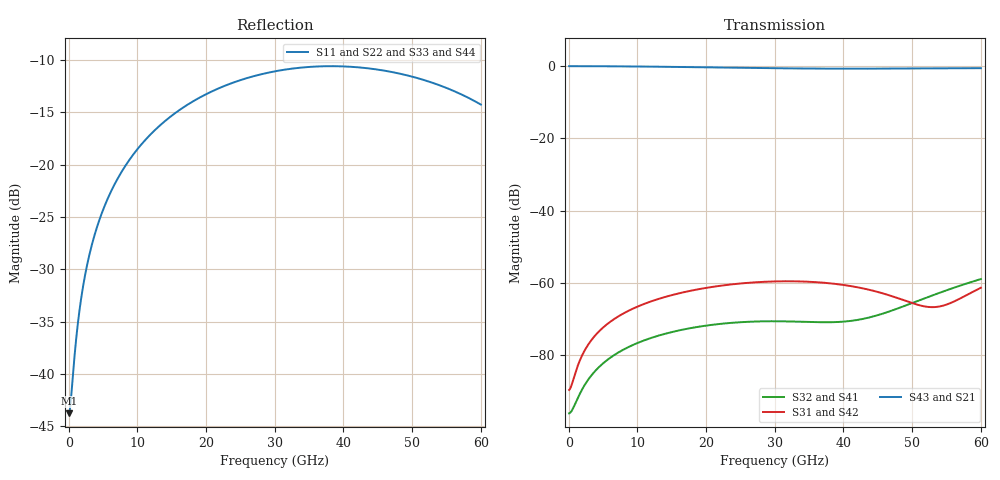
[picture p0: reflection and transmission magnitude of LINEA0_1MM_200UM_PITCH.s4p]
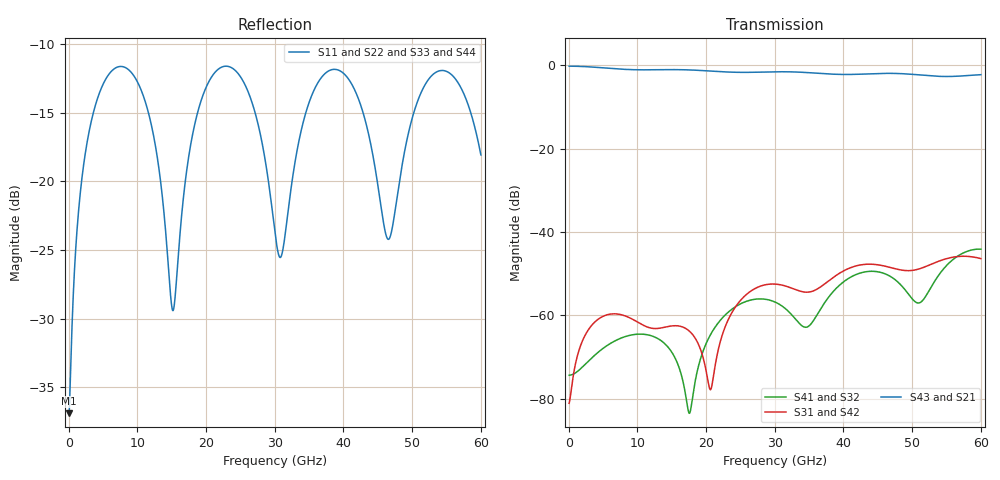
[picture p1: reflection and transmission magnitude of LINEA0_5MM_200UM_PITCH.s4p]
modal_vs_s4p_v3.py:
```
"""Hybrid crosstalk model vs coworker's 3-D CST .s4p (200 um pitch).
 - average line (speed, loss, impedance): 3-D single-line fit, cascade/three_lengths_results.npz
   (includes gold loss / internal inductance, which the hexahedral port solver ignores: it treats metal as PEC)
 - even/odd SPLIT: 2-D port modes 5/6 -> dn(f) from beta (portmode_betas.txt),
   Ze/Zo - 1 = +0.30...+0.45 % from field integration (port_voltages_sweep.py)."""
import numpy as np, matplotlib; matplotlib.use("Agg"); import matplotlib.pyplot as plt
from first_look_lib import load4
c = 299792458
R = np.load("../cascade/three_lengths_results.npz"); fR, gR, ZR = R["f"], R["g"], R["Zfit"]
B = np.loadtxt("portmode_betas.txt"); fb = B[:, 0]*1e9; dbeta_over_f = (B[:, 1]-B[:, 2])/fb
def line2(gam, Z, L, z0=50.0):
    t = np.exp(-gam*L); r = (Z-z0)/(Z+z0); d = 1 - r**2*t**2
    return r*(1-t**2)/d, (1-r**2)*t/d
def xtalk(f, L, dz):
    g = np.interp(f, fR, gR.real) + 1j*np.interp(f, fR, gR.imag)
    Z = np.interp(f, fR, ZR.real) + 1j*np.interp(f, fR, ZR.imag)
    db_ = np.interp(f, fb, dbeta_over_f)*f            # beta_even - beta_odd
    s11e, s21e = line2(g + 0.5j*db_, Z*(1+dz/2), L); s11o, s21o = line2(g - 0.5j*db_, Z*(1-dz/2), L)
    return 0.5*(s11e-s11o), 0.5*(s21e-s21o)
db = lambda x: 20*np.log10(np.abs(x)+1e-30)
fig, axs = plt.subplots(2, 2, figsize=(12, 8), sharex=True); rows = []
for j, (fn, L) in enumerate([("LINEA0_1MM_200UM_PITCH.s4p", 1e-3), ("LINEA0_5MM_200UM_PITCH.s4p", 5e-3)]):
    f, S = load4(fn); f, S = f[1:], S[1:]
    lo, hi = xtalk(f, L, 0.0030), xtalk(f, L, 0.0045)
    for i, (k, name) in enumerate([(2, "NEXT  |S31|"), (3, "FEXT  |S41|")]):
        a = axs[i, j]; cst = db(S[:, k, 0]); m1, m2 = db(lo[i]), db(hi[i])
        a.fill_between(f/1e9, np.minimum(m1, m2), np.maximum(m1, m2), color="C3", alpha=.35,
                       label="cross-section model (3-D line + 2-D even/odd split)")
        a.plot(f/1e9, cst, "k", lw=2, label="coworker's 3-D CST (.s4p)")
        a.set_title(f"{name},  L = {L*1e3:.0f} mm,  pitch 200 µm"); a.set_ylim(-110, -30); a.grid(alpha=.3)
        for gq in (6, 18, 30, 42, 60):
            q = np.argmin(abs(f-gq*1e9)); rows.append((L*1e3, name[:4], gq, cst[q], m1[q], m2[q]))
axs[0, 0].legend(fontsize=8, loc="lower right"); [a.set_xlabel("frequency (GHz)") for a in axs[1]]
[a.set_ylabel("dB") for a in axs[:, 0]]
fig.tight_layout(); fig.savefig("modal_vs_s4p_v3.png", dpi=110)
for r in rows: print("%.0fmm %s %2d GHz  CST %6.1f  model %6.1f .. %6.1f" % r)
```
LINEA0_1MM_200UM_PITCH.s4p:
! TOUCHSTONE file generated by CST MICROWAVE STUDIO
! Date and time: Wed Oct 14 10:40:22 2026
! Project name: LINEA0_1MM_200UM_PITCH.cst
! Parameters = {CHANNEL_PITCH=0.2; GAP=0.00415; L=1; L1=0.02; L2=0.086; L3=0.066; NCELL=1; PITCH=0.18; START_POSITION=0.08; W1=0.003; W2=0.004; W3=0.009; WG=0.04985; gap_oxr=0.00125; linbo3_thickness=0.0002; mtx=0.002; oxiDinE=0.0014; w=0.15; ws=0.035}
! Header version: 2024
! Port assignment regex: !\s*Touchstone port\s*([0-9]+)\s*=\s*(CST MWS port|CST DES external port|CST DES block port)\s*(.+)\s* \(\"(.*)\"\)(\s*mode\s*([0-9]+))?.*
! Touchstone port assignment:
! Touchstone port 1 = CST MWS port 1 ("")
! Touchstone port 2 = CST MWS port 2 ("")
! Touchstone port 3 = CST MWS port 3 ("")
! Touchstone port 4 = CST MWS port 4 ("")
# GHz S MA R 50
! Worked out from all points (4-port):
!   1000 points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, 60 MHz to 60 GHz, reference 50 ohm
!   strongest paths, dB at 60 MHz, 15.06 GHz, 30.06 GHz, 45.06 GHz, 60 GHz:
!     S43: -0.1, -0.3, -0.6, -0.7, -0.6
!     S21: -0.1, -0.3, -0.6, -0.7, -0.6
!     S31: -89.6, -63.4, -59.6, -62.6, -61.4
!     S42: -89.6, -63.4, -59.6, -62.6, -61.4
!     S32: -96.1, -73.6, -70.6, -68.9, -59.0
!     S41: -96.1, -73.6, -70.6, -68.9, -59.0
!   lowest |S11| = -43.7 dB at 60 MHz (marker M1), VSWR 1.01, Z = 50.6 - j0.0756 ohm
!   |S11| at or under -10 dB: start of sweep to end of sweep
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0.06  0.006495 -6.6  0.9921 -0.2  3.3e-05 4.9  1.566e-05 176.4
      0.9921 -0.2  0.006495 -6.6  1.566e-05 176.4  3.3e-05 4.9
      3.3e-05 4.9  1.566e-05 176.4  0.006485 -6.6  0.9921 -0.2
      1.566e-05 176.4  3.3e-05 4.9  0.9921 -0.2  0.006485 -6.6
15.36  0.175 -123.6  0.9694 -38.4  0.0006892 48.8  0.0002121 20.7
       0.9694 -38.4  0.175 -123.6  0.0002121 20.7  0.0006892 48.8
       0.0006892 48.8  0.0002121 20.7  0.1751 -123.6  0.9694 -38.4
       0.0002121 20.7  0.0006892 48.8  0.9694 -38.4  0.1751 -123.6
60  0.1937 137.7  0.9306 -141.3  0.0008552 27.8  0.001127 -105.1
    0.9306 -141.3  0.1937 137.7  0.001127 -105.1  0.0008552 27.8
    0.0008552 27.8  0.001127 -105.1  0.1939 137.7  0.9307 -141.2
    0.001127 -105.1  0.0008552 27.8  0.9307 -141.2  0.1939 137.7
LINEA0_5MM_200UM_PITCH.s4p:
! TOUCHSTONE file generated by CST MICROWAVE STUDIO
! Date and time: Thu Oct 15 09:16:29 2026
! Project name: LINEA0_5MM_200UM_PITCH.cst
! Parameters = {CHANNEL_PITCH=0.2; GAP=0.00415; L=5; L1=0.02; L2=0.086; L3=0.066; NCELL=1; PITCH=0.18; START_POSITION=0.08; W1=0.003; W2=0.004; W3=0.009; WG=0.04985; gap_oxr=0.00125; linbo3_thickness=0.0002; mtx=0.002; oxiDinE=0.0014; w=0.15; ws=0.035}
! Header version: 2024
! Port assignment regex: !\s*Touchstone port\s*([0-9]+)\s*=\s*(CST MWS port|CST DES external port|CST DES block port)\s*(.+)\s* \(\"(.*)\"\)(\s*mode\s*([0-9]+))?.*
! Touchstone port assignment:
! Touchstone port 1 = CST MWS port 1 ("")
! Touchstone port 2 = CST MWS port 2 ("")
! Touchstone port 3 = CST MWS port 3 ("")
! Touchstone port 4 = CST MWS port 4 ("")
# GHz S MA R 50
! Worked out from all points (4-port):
!   1000 points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, 60 MHz to 60 GHz, reference 50 ohm
!   strongest paths, dB at 60 MHz, 15.06 GHz, 30.06 GHz, 45.06 GHz, 60 GHz:
!     S43: -0.2, -1.0, -1.5, -1.9, -2.2
!     S21: -0.2, -1.0, -1.5, -2.0, -2.2
!     S31: -81.1, -62.5, -52.5, -47.9, -46.4
!     S42: -81.1, -62.5, -52.5, -47.9, -46.4
!     S41: -74.4, -69.0, -56.8, -49.6, -44.1
!     S32: -74.4, -69.0, -56.8, -49.6, -44.1
!   lowest |S11| = -36.9 dB at 60 MHz (marker M1), VSWR 1.03, Z = 51.4 - j0.352 ohm
!   |S11| at or under -10 dB: start of sweep to end of sweep
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0.06  0.01428 -13.9  0.9786 -0.8  8.818e-05 9.2  0.0001907 177.2
      0.9786 -0.8  0.01428 -13.9  0.0001907 177.2  8.818e-05 9.2
      8.81e-05 9.2  0.0001911 177.2  0.01426 -13.9  0.9786 -0.8
      0.0001911 177.2  8.81e-05 9.2  0.9786 -0.8  0.01426 -13.9
15.06  0.0343 176.1  0.8898 -178.9  0.0007479 -18.1  0.0003559 117.3
       0.8898 -178.9  0.0343 176.1  0.0003559 117.3  0.0007479 -18.1
       0.000748 -18.1  0.0003557 117.3  0.03434 175.7  0.89 -178.8
       0.0003557 117.3  0.000748 -18.1  0.89 -178.8  0.03434 175.7
60  0.125 146.1  0.7726 22.2  0.004802 -67.7  0.006239 -26.9
    0.7726 22.2  0.125 146.1  0.006239 -26.9  0.004802 -67.7
    0.004801 -67.7  0.006236 -26.9  0.1256 146.0  0.7733 22.3
    0.006236 -26.9  0.004801 -67.7  0.7733 22.3  0.1256 146.0
